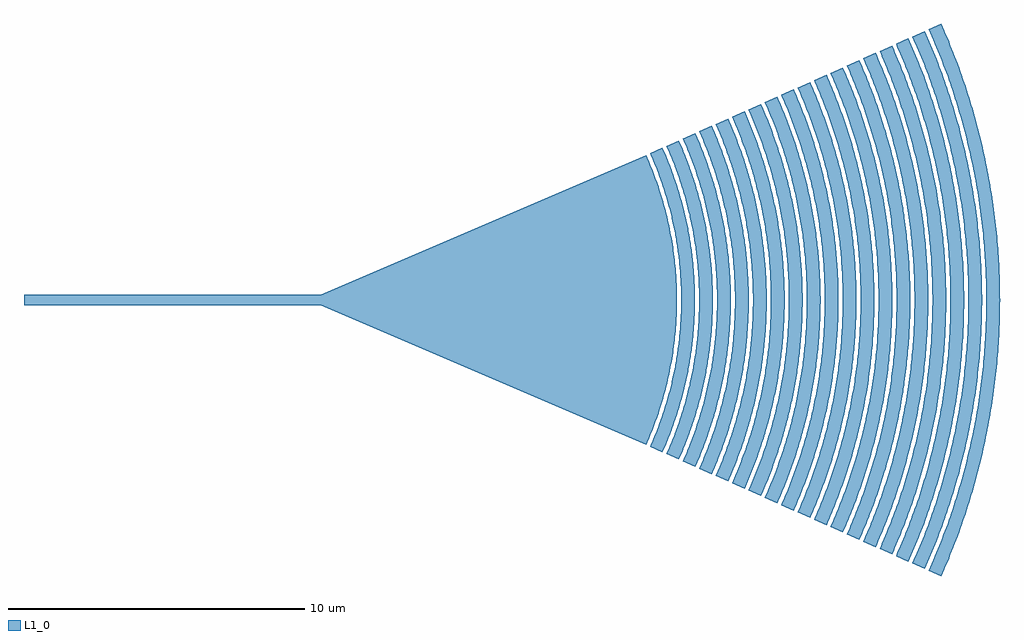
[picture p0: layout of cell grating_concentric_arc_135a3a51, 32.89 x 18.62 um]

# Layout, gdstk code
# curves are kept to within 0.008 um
import gdstk
lib = gdstk.Library(unit=1e-6, precision=2e-09)
def R(c, l, rs):  # rectangles x0, y0, x1, y1
    for r in rs: c.add(gdstk.rectangle(r[:2], r[2:], *l))
def P(c, l, *ps):  # polygons
    for p in ps: c.add(gdstk.Polygon(p, *l))
L1_0 = (1, 0)

straight_3aa2beef = lib.new_cell('straight_3aa2beef')
R(straight_3aa2beef, L1_0, [(0,-0.174,10,0.174)])

ring_b48eba93_transform_ = lib.new_cell('ring_b48eba93_transform_0216de97')
P(ring_b48eba93_transform_, L1_0, [(11.096,-4.94),(11.314,-4.418),(11.484,-3.954),(11.656,-3.416),(11.802,-2.87),(11.936,-2.248),(12.028,-1.69),(12.1,-1.058),(12.136,-0.494),(12.144,0.212),(12.116,0.848),(12.064,1.41),(11.936,2.248),(11.802,2.87),(11.594,3.618),(11.364,4.286),(11.096,4.94),(11.514,5.126),(11.742,4.586),(11.988,3.896),(12.176,3.262),(12.374,2.406),(12.502,1.608),(12.574,0.88),(12.604,0.146),(12.592,-0.586),(12.52,-1.464),(12.45,-1.972),(12.374,-2.406),(12.176,-3.262),(12.076,-3.616),(11.918,-4.104),(11.742,-4.586),(11.514,-5.126)])

ring_3b94242a_transform_ = lib.new_cell('ring_3b94242a_transform_ae94267e')
P(ring_3b94242a_transform_, L1_0, [(11.648,-5.186),(11.904,-4.57),(12.08,-4.08),(12.236,-3.586),(12.424,-2.868),(12.544,-2.288),(12.646,-1.628),(12.702,-1.112),(12.74,-0.52),(12.75,0.148),(12.714,0.964),(12.646,1.628),(12.544,2.288),(12.424,2.868),(12.236,3.586),(11.982,4.36),(11.85,4.708),(11.648,5.186),(12.068,5.372),(12.36,4.662),(12.61,3.936),(12.818,3.196),(12.982,2.446),(13.112,1.61),(13.178,0.922),(13.21,0.076),(13.196,-0.614),(13.16,-1.152),(13.112,-1.61),(12.982,-2.446),(12.78,-3.344),(12.61,-3.936),(12.49,-4.3),(12.276,-4.878),(12.068,-5.372)])

ring_590d5041_transform_ = lib.new_cell('ring_590d5041_transform_d5f68341')
P(ring_590d5041_transform_, L1_0, [(12.2,-5.432),(12.496,-4.714),(12.702,-4.126),(12.88,-3.532),(13.03,-2.928),(13.166,-2.242),(13.256,-1.628),(13.328,-0.854),(13.35,-0.388),(13.35,0.388),(13.304,1.164),(13.236,1.782),(13.11,2.548),(12.92,3.382),(12.702,4.126),(12.496,4.714),(12.2,5.432),(12.62,5.618),(12.926,4.876),(13.186,4.116),(13.424,3.264),(13.576,2.556),(13.702,1.764),(13.786,0.884),(13.814,0.16),(13.8,-0.642),(13.762,-1.204),(13.712,-1.684),(13.576,-2.556),(13.478,-3.03),(13.344,-3.576),(13.114,-4.346),(12.868,-5.026),(12.62,-5.618)])

ring_b0ef972c_transform_ = lib.new_cell('ring_b0ef972c_transform_a932f15d')
P(ring_b0ef972c_transform_, L1_0, [(12.752,-5.678),(12.974,-5.154),(13.226,-4.468),(13.396,-3.926),(13.584,-3.22),(13.734,-2.504),(13.846,-1.782),(13.914,-1.136),(13.954,-0.406),(13.954,0.406),(13.914,1.136),(13.824,1.942),(13.688,2.744),(13.484,3.612),(13.302,4.236),(13.062,4.926),(12.752,5.678),(13.172,5.864),(13.37,5.402),(13.55,4.932),(13.814,4.136),(14.05,3.244),(14.186,2.586),(14.312,1.758),(14.39,0.922),(14.418,0.168),(14.404,-0.67),(14.372,-1.174),(14.322,-1.674),(14.186,-2.586),(14.05,-3.244),(13.95,-3.65),(13.688,-4.536),(13.462,-5.168),(13.172,-5.864)])

ring_9b2fea34_transform_ = lib.new_cell('ring_9b2fea34_transform_ec5ced62')
P(ring_9b2fea34_transform_, L1_0, [(13.306,-5.924),(13.536,-5.378),(13.852,-4.5),(14.046,-3.852),(14.21,-3.194),(14.358,-2.446),(14.446,-1.858),(14.516,-1.184),(14.556,-0.508),(14.556,0.508),(14.502,1.354),(14.398,2.194),(14.264,2.946),(14.09,3.688),(13.878,4.42),(13.686,4.982),(13.536,5.378),(13.306,5.924),(13.724,6.11),(14.026,5.384),(14.316,4.56),(14.578,3.634),(14.748,2.866),(14.89,2.004),(14.988,1.048),(15.022,0.262),(15.012,-0.612),(14.942,-1.57),(14.866,-2.178),(14.796,-2.608),(14.696,-3.124),(14.578,-3.634),(14.316,-4.56),(14.026,-5.384),(13.724,-6.11)])

ring_90b3880c_transform_ = lib.new_cell('ring_90b3880c_transform_84ff6cfa')
P(ring_90b3880c_transform_, L1_0, [(13.858,-6.17),(14.162,-5.436),(14.454,-4.604),(14.606,-4.096),(14.8,-3.326),(14.954,-2.548),(15.034,-2.024),(15.112,-1.322),(15.16,-0.53),(15.16,0.53),(15.112,1.322),(15.022,2.112),(14.874,2.98),(14.696,3.756),(14.454,4.604),(14.162,5.436),(13.858,6.17),(14.278,6.356),(14.558,5.686),(14.748,5.174),(14.892,4.742),(15.12,3.958),(15.342,2.982),(15.464,2.266),(15.534,1.724),(15.584,1.18),(15.612,0.728),(15.628,0.182),(15.616,-0.636),(15.584,-1.18),(15.534,-1.724),(15.422,-2.534),(15.342,-2.982),(15.208,-3.604),(15.048,-4.22),(14.892,-4.742),(14.748,-5.174),(14.558,-5.686),(14.278,-6.356)])

ring_0b2ab13f_transform_ = lib.new_cell('ring_0b2ab13f_transform_c422fffd')
P(ring_0b2ab13f_transform_, L1_0, [(14.41,-6.416),(14.66,-5.824),(14.974,-4.962),(15.188,-4.26),(15.37,-3.548),(15.534,-2.74),(15.656,-1.922),(15.736,-1.1),(15.77,-0.368),(15.764,0.55),(15.706,1.466),(15.608,2.286),(15.448,3.19),(15.26,3.994),(15.138,4.436),(14.974,4.962),(14.66,5.824),(14.41,6.416),(14.83,6.602),(15.188,5.73),(15.468,4.926),(15.728,4.018),(15.934,3.098),(16.076,2.26),(16.18,1.32),(16.224,0.566),(16.234,0),(16.224,-0.566),(16.194,-1.132),(16.154,-1.602),(16.034,-2.54),(15.934,-3.098),(15.818,-3.652),(15.552,-4.656),(15.38,-5.196),(15.222,-5.64),(15.052,-6.082),(14.83,-6.602)])

ring_5a8a01f6_transform_ = lib.new_cell('ring_5a8a01f6_transform_4ce43796')
P(ring_5a8a01f6_transform_, L1_0, [(14.962,-6.662),(15.222,-6.046),(15.548,-5.152),(15.796,-4.332),(15.98,-3.592),(16.13,-2.844),(16.268,-1.902),(16.332,-1.238),(16.372,-0.476),(16.372,0.476),(16.316,1.428),(16.206,2.374),(16.06,3.218),(15.936,3.778),(15.796,4.332),(15.548,5.152),(15.222,6.046),(14.962,6.662),(15.382,6.848),(15.72,6.034),(16.074,5.016),(16.29,4.264),(16.51,3.308),(16.688,2.246),(16.79,1.272),(16.834,0.392),(16.828,-0.588),(16.79,-1.272),(16.736,-1.858),(16.646,-2.538),(16.582,-2.924),(16.45,-3.596),(16.362,-3.978),(16.074,-5.016),(15.72,-6.034),(15.382,-6.848)])

ring_5c50d978_transform_ = lib.new_cell('ring_5c50d978_transform_b5c73ce3')
P(ring_5c50d978_transform_, L1_0, [(15.514,-6.908),(15.856,-6.086),(16.122,-5.342),(16.326,-4.682),(16.592,-3.628),(16.726,-2.95),(16.832,-2.266),(16.934,-1.284),(16.976,-0.494),(16.976,0.494),(16.934,1.284),(16.832,2.266),(16.672,3.24),(16.526,3.916),(16.242,4.966),(16.058,5.53),(15.856,6.086),(15.514,6.908),(15.934,7.094),(16.248,6.346),(16.46,5.774),(16.62,5.294),(16.9,4.318),(17.04,3.726),(17.142,3.228),(17.3,2.226),(17.384,1.42),(17.436,0.508),(17.436,-0.508),(17.414,-1.014),(17.368,-1.622),(17.3,-2.226),(17.212,-2.828),(17.142,-3.228),(16.996,-3.924),(16.9,-4.318),(16.71,-5.002),(16.526,-5.582),(16.356,-6.06),(16.096,-6.722),(15.934,-7.094)])

ring_9320d93a_transform_ = lib.new_cell('ring_9320d93a_transform_d93f3239')
P(ring_9320d93a_transform_, L1_0, [(16.068,-7.154),(16.346,-6.494),(16.696,-5.532),(16.934,-4.75),(17.138,-3.956),(17.338,-2.954),(17.444,-2.244),(17.538,-1.328),(17.584,-0.41),(17.578,0.614),(17.512,1.634),(17.388,2.65),(17.204,3.656),(16.962,4.65),(16.728,5.434),(16.42,6.302),(16.068,7.154),(16.488,7.34),(16.886,6.37),(17.228,5.376),(17.46,4.57),(17.696,3.546),(17.792,3.03),(17.872,2.512),(17.988,1.468),(18.04,0.524),(18.04,-0.524),(18.004,-1.258),(17.97,-1.678),(17.9,-2.304),(17.826,-2.824),(17.736,-3.34),(17.608,-3.958),(17.46,-4.57),(17.29,-5.176),(17.132,-5.676),(16.886,-6.37),(16.488,-7.34)])

ring_2aed73ff_transform_ = lib.new_cell('ring_2aed73ff_transform_2897525f')
P(ring_2aed73ff_transform_, L1_0, [(16.62,-7.4),(16.984,-6.52),(17.27,-5.722),(17.488,-5.014),(17.75,-3.99),(17.952,-2.95),(18.07,-2.112),(18.156,-1.164),(18.188,-0.424),(18.182,0.634),(18.124,1.586),(18.016,2.532),(17.838,3.576),(17.6,4.606),(17.334,5.522),(16.984,6.52),(16.62,7.4),(17.04,7.586),(17.414,6.684),(17.6,6.176),(17.806,5.558),(18.072,4.618),(18.31,3.558),(18.456,2.704),(18.582,1.626),(18.632,0.868),(18.648,0.434),(18.648,-0.434),(18.632,-0.868),(18.582,-1.626),(18.514,-2.274),(18.44,-2.81),(18.35,-3.346),(18.222,-3.984),(18.072,-4.618),(17.9,-5.246),(17.74,-5.764),(17.528,-6.38),(17.294,-6.988),(17.04,-7.586)])

ring_c9a79b60_transform_ = lib.new_cell('ring_c9a79b60_transform_372948f2')
P(ring_c9a79b60_transform_, L1_0, [(17.172,-7.646),(17.51,-6.838),(17.844,-5.912),(18.07,-5.182),(18.316,-4.228),(18.512,-3.264),(18.644,-2.4),(18.744,-1.42),(18.79,-0.546),(18.79,0.546),(18.744,1.42),(18.63,2.508),(18.452,3.586),(18.266,4.442),(18.07,5.182),(17.944,5.6),(17.774,6.12),(17.588,6.634),(17.388,7.142),(17.172,7.646),(17.592,7.832),(18.018,6.796),(18.208,6.27),(18.382,5.738),(18.658,4.768),(18.904,3.674),(19.002,3.124),(19.1,2.458),(19.202,1.456),(19.252,0.448),(19.246,-0.672),(19.218,-1.232),(19.152,-2.012),(19.1,-2.458),(19.002,-3.124),(18.904,-3.674),(18.764,-4.332),(18.63,-4.876),(18.48,-5.416),(18.28,-6.058),(18.096,-6.586),(17.812,-7.318),(17.592,-7.832)])

ring_6193f4fa_transform_ = lib.new_cell('ring_6193f4fa_transform_ac2570c3')
P(ring_6193f4fa_transform_, L1_0, [(17.724,-7.892),(18.114,-6.954),(18.418,-6.102),(18.682,-5.24),(18.93,-4.254),(19.108,-3.37),(19.258,-2.364),(19.308,-1.916),(19.37,-1.128),(19.4,-0.338),(19.4,0.338),(19.382,0.902),(19.308,1.916),(19.164,3.036),(19.002,3.924),(18.77,4.912),(18.488,5.888),(18.114,6.954),(17.724,7.892),(18.144,8.078),(18.372,7.548),(18.584,7.01),(18.89,6.138),(19.06,5.586),(19.244,4.916),(19.452,4.016),(19.58,3.336),(19.652,2.878),(19.728,2.306),(19.786,1.732),(19.854,0.578),(19.854,-0.578),(19.814,-1.386),(19.776,-1.846),(19.7,-2.536),(19.618,-3.108),(19.404,-4.242),(19.244,-4.916),(19.028,-5.696),(18.854,-6.248),(18.584,-7.01),(18.372,-7.548),(18.144,-8.078)])

ring_9e589ffa_transform_ = lib.new_cell('ring_9e589ffa_transform_4279bda3')
P(ring_9e589ffa_transform_, L1_0, [(18.278,-8.138),(18.72,-7.062),(18.992,-6.294),(19.326,-5.178),(19.546,-4.274),(19.742,-3.244),(19.872,-2.322),(19.95,-1.512),(20.002,-0.466),(20.002,0.466),(19.95,1.512),(19.844,2.554),(19.742,3.244),(19.64,3.818),(19.546,4.274),(19.384,4.952),(19.264,5.402),(19.064,6.072),(18.72,7.062),(18.278,8.138),(18.696,8.324),(18.932,7.778),(19.15,7.224),(19.502,6.212),(19.674,5.642),(19.83,5.066),(20.068,4.022),(20.196,3.32),(20.268,2.848),(20.342,2.258),(20.398,1.666),(20.458,0.596),(20.458,-0.596),(20.432,-1.19),(20.378,-1.902),(20.284,-2.73),(20.196,-3.32),(20.068,-4.022),(19.942,-4.604),(19.674,-5.642),(19.502,-6.212),(19.232,-7),(18.932,-7.778),(18.696,-8.324)])

ring_2cb3499e_transform_ = lib.new_cell('ring_2cb3499e_transform_0e2550ec')
P(ring_2cb3499e_transform_, L1_0, [(18.83,-8.384),(19.2,-7.498),(19.566,-6.484),(19.814,-5.682),(20.084,-4.636),(20.278,-3.698),(20.394,-2.988),(20.458,-2.512),(20.562,-1.438),(20.606,-0.48),(20.606,0.48),(20.584,1.078),(20.534,1.796),(20.486,2.274),(20.394,2.988),(20.21,4.05),(20,4.986),(19.814,5.682),(19.64,6.256),(19.286,7.274),(19.02,7.944),(18.83,8.384),(19.25,8.57),(19.672,7.552),(19.924,6.86),(20.078,6.394),(20.354,5.454),(20.504,4.86),(20.636,4.26),(20.83,3.176),(20.914,2.568),(20.98,1.958),(21.054,0.858),(21.07,0.246),(21.066,-0.49),(21.036,-1.226),(21.002,-1.714),(20.914,-2.568),(20.83,-3.176),(20.636,-4.26),(20.504,-4.86),(20.288,-5.69),(20.078,-6.394),(19.842,-7.092),(19.628,-7.666),(19.25,-8.57)])

ring_676bd931_transform_ = lib.new_cell('ring_676bd931_transform_cbda2819')
P(ring_676bd931_transform_, L1_0, [(19.382,-8.63),(19.808,-7.604),(20.14,-6.674),(20.462,-5.61),(20.7,-4.652),(20.916,-3.562),(21.058,-2.586),(21.156,-1.604),(21.194,-0.988),(21.214,-0.37),(21.204,0.74),(21.136,1.85),(21.01,2.952),(20.916,3.562),(20.778,4.29),(20.616,5.012),(20.494,5.492),(20.216,6.438),(20.02,7.024),(19.808,7.604),(19.382,8.63),(19.802,8.816),(20.098,8.12),(20.326,7.532),(20.654,6.578),(20.836,5.974),(21.002,5.366),(21.254,4.26),(21.368,3.64),(21.482,2.892),(21.594,1.89),(21.658,0.882),(21.676,0.126),(21.67,-0.504),(21.64,-1.26),(21.594,-1.89),(21.53,-2.516),(21.428,-3.266),(21.302,-4.012),(21.176,-4.63),(21.002,-5.366),(20.87,-5.854),(20.654,-6.578),(20.412,-7.294),(20.098,-8.12),(19.802,-8.816)])

ring_ad07e3b5_transform_ = lib.new_cell('ring_ad07e3b5_transform_932ab8a8')
P(ring_ad07e3b5_transform_, L1_0, [(19.934,-8.876),(20.136,-8.41),(20.372,-7.82),(20.714,-6.864),(20.868,-6.38),(21.078,-5.648),(21.318,-4.66),(21.512,-3.664),(21.674,-2.534),(21.768,-1.522),(21.816,-0.508),(21.82,0.254),(21.808,0.762),(21.738,1.902),(21.626,2.912),(21.512,3.664),(21.396,4.288),(21.142,5.402),(20.976,6.014),(20.792,6.622),(20.506,7.464),(20.372,7.82),(20.136,8.41),(19.934,8.876),(20.354,9.062),(20.754,8.106),(21.024,7.376),(21.23,6.762),(21.418,6.142),(21.554,5.642),(21.71,5.012),(21.872,4.252),(22.046,3.23),(22.13,2.586),(22.196,1.942),(22.25,1.166),(22.272,0.648),(22.272,-0.648),(22.25,-1.166),(22.196,-1.942),(22.13,-2.586),(22.046,-3.23),(21.92,-3.996),(21.794,-4.632),(21.65,-5.264),(21.418,-6.142),(21.15,-7.008),(20.892,-7.742),(20.61,-8.466),(20.354,-9.062)])

ring_7f76ca37_transform_ = lib.new_cell('ring_7f76ca37_transform_432ad00a')
P(ring_7f76ca37_transform_, L1_0, [(20.486,-9.122),(20.89,-8.158),(21.288,-7.054),(21.628,-5.93),(21.88,-4.918),(22.108,-3.766),(22.274,-2.604),(22.372,-1.564),(22.42,-0.522),(22.42,0.522),(22.402,1.044),(22.352,1.824),(22.226,2.992),(22.108,3.766),(22.014,4.28),(21.76,5.426),(21.628,5.93),(21.408,6.682),(21.162,7.424),(20.89,8.158),(20.486,9.122),(20.906,9.308),(21.118,8.82),(21.366,8.202),(21.766,7.072),(22.106,5.924),(22.386,4.758),(22.604,3.58),(22.698,2.922),(22.774,2.26),(22.83,1.596),(22.872,0.798),(22.886,0),(22.88,-0.532),(22.854,-1.198),(22.81,-1.862),(22.746,-2.524),(22.644,-3.316),(22.538,-3.974),(22.386,-4.758),(22.238,-5.408),(22.036,-6.18),(21.766,-7.072),(21.506,-7.828),(21.268,-8.45),(20.906,-9.308)])

grating_concentric_arc_1 = lib.new_cell('grating_concentric_arc_135a3a51')
P(grating_concentric_arc_1, L1_0, [(0,0.174),(0,-0.174),(10.962,-4.882),(11.006,-4.786),(11.24,-4.202),(11.476,-3.508),(11.644,-2.902),(11.78,-2.29),(11.868,-1.774),(11.954,-1.046),(11.99,-0.524),(12,0.104),(11.99,0.524),(11.934,1.254),(11.836,1.98),(11.738,2.496),(11.564,3.206),(11.38,3.808),(11.126,4.496),(10.962,4.882)])
grating_concentric_arc_1.add(gdstk.Reference(straight_3aa2beef, (-10,0)))
grating_concentric_arc_1.add(gdstk.Reference(ring_b48eba93_transform_, (0,0)))
grating_concentric_arc_1.add(gdstk.Reference(ring_3b94242a_transform_, (0,0)))
grating_concentric_arc_1.add(gdstk.Reference(ring_590d5041_transform_, (0,0)))
grating_concentric_arc_1.add(gdstk.Reference(ring_b0ef972c_transform_, (0,0)))
grating_concentric_arc_1.add(gdstk.Reference(ring_9b2fea34_transform_, (0,0)))
grating_concentric_arc_1.add(gdstk.Reference(ring_90b3880c_transform_, (0,0)))
grating_concentric_arc_1.add(gdstk.Reference(ring_0b2ab13f_transform_, (0,0)))
grating_concentric_arc_1.add(gdstk.Reference(ring_5a8a01f6_transform_, (0,0)))
grating_concentric_arc_1.add(gdstk.Reference(ring_5c50d978_transform_, (0,0)))
grating_concentric_arc_1.add(gdstk.Reference(ring_9320d93a_transform_, (0,0)))
grating_concentric_arc_1.add(gdstk.Reference(ring_2aed73ff_transform_, (0,0)))
grating_concentric_arc_1.add(gdstk.Reference(ring_c9a79b60_transform_, (0,0)))
grating_concentric_arc_1.add(gdstk.Reference(ring_6193f4fa_transform_, (0,0)))
grating_concentric_arc_1.add(gdstk.Reference(ring_9e589ffa_transform_, (0,0)))
grating_concentric_arc_1.add(gdstk.Reference(ring_2cb3499e_transform_, (0,0)))
grating_concentric_arc_1.add(gdstk.Reference(ring_676bd931_transform_, (0,0)))
grating_concentric_arc_1.add(gdstk.Reference(ring_ad07e3b5_transform_, (0,0)))
grating_concentric_arc_1.add(gdstk.Reference(ring_7f76ca37_transform_, (0,0)))

lib.write_gds('grating_concentric_arc_135a3a51.gds')
